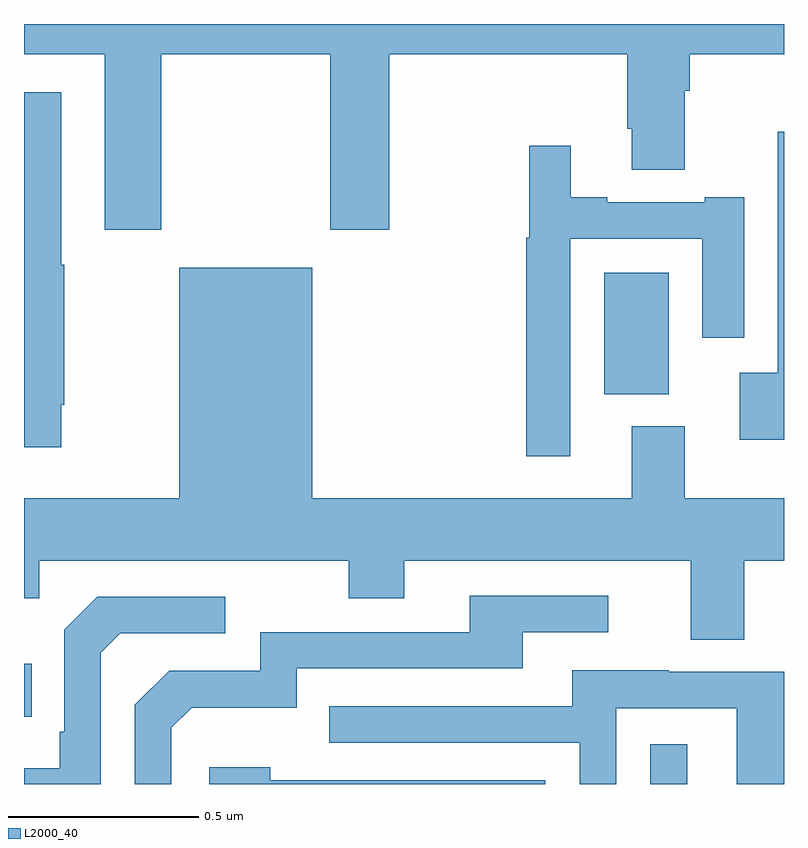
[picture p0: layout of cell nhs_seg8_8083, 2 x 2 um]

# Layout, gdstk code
import gdstk
lib = gdstk.Library(unit=1e-6, precision=1e-09)
def R(c, l, rs):  # rectangles x0, y0, x1, y1
    for r in rs: c.add(gdstk.rectangle(r[:2], r[2:], *l))
def P(c, l, *ps):  # polygons
    for p in ps: c.add(gdstk.Polygon(p, *l))
L2000_40 = (2000, 40)

nhs_seg8_8083 = lib.new_cell('nhs_seg8_8083')
R(nhs_seg8_8083, L2000_40, [(219.648,1127.9,219.745,1128.004), (218,1128.077,218.021,1128.217), (219.527,1128.926,219.697,1129.246)])
P(nhs_seg8_8083, L2000_40, [(218.361,1129.82),(218.806,1129.82),(218.806,1129.359),(218.961,1129.359),(218.961,1129.82),(219.587,1129.82),(219.587,1129.624),(219.599,1129.624),(219.599,1129.516),(219.739,1129.516),(219.739,1129.724),(219.752,1129.724),(219.752,1129.82),(220,1129.82),(220,1129.9),(218,1129.9),(218,1129.82),(218.213,1129.82),(218.213,1129.359),(218.361,1129.359)],
  [(218.098,1128.898),(218.106,1128.898),(218.106,1129.266),(218.098,1129.266),(218.098,1129.72),(218,1129.72),(218,1128.786),(218.098,1128.786)],
  [(220,1129.616),(219.984,1129.616),(219.984,1128.982),(219.884,1128.982),(219.884,1128.806),(220,1128.806)],
  [(219.438,1129.335),(219.785,1129.335),(219.785,1129.074),(219.895,1129.074),(219.895,1129.444),(219.791,1129.444),(219.791,1129.431),(219.535,1129.431),(219.535,1129.444),(219.439,1129.444),(219.439,1129.579),(219.33,1129.579),(219.33,1129.338),(219.322,1129.338),(219.322,1128.762),(219.438,1128.762)],
  [(219.895,1128.488),(220,1128.488),(220,1128.652),(219.739,1128.652),(219.739,1128.841),(219.599,1128.841),(219.599,1128.652),(218.758,1128.652),(218.758,1129.258),(218.408,1129.258),(218.408,1128.652),(218,1128.652),(218,1128.389),(218.04,1128.389),(218.04,1128.488),(218.854,1128.488),(218.854,1128.389),(219.001,1128.389),(219.001,1128.488),(219.755,1128.488),(219.755,1128.28),(219.895,1128.28)],
  [(218.388,1128.048),(218.441,1128.101),(218.718,1128.101),(218.718,1128.204),(219.313,1128.204),(219.313,1128.3),(219.538,1128.3),(219.538,1128.396),(219.173,1128.396),(219.173,1128.3),(218.622,1128.3),(218.622,1128.198),(218.382,1128.198),(218.292,1128.108),(218.292,1127.9),(218.388,1127.9)],
  [(218.202,1128.246),(218.253,1128.297),(218.53,1128.297),(218.53,1128.393),(218.193,1128.393),(218.106,1128.306),(218.106,1128.037),(218.094,1128.037),(218.094,1127.941),(218,1127.941),(218,1127.9),(218.202,1127.9)],
  [(219.558,1128.099),(219.876,1128.099),(219.876,1127.9),(220,1127.9),(220,1128.195),(219.697,1128.195),(219.697,1128.199),(219.443,1128.199),(219.443,1128.105),(218.803,1128.105),(218.803,1128.009),(219.462,1128.009),(219.462,1127.9),(219.558,1127.9)],
  [(219.372,1127.91),(218.648,1127.91),(218.648,1127.944),(218.487,1127.944),(218.487,1127.9),(219.372,1127.9)])

lib.write_gds('nhs_seg8_8083.gds')
